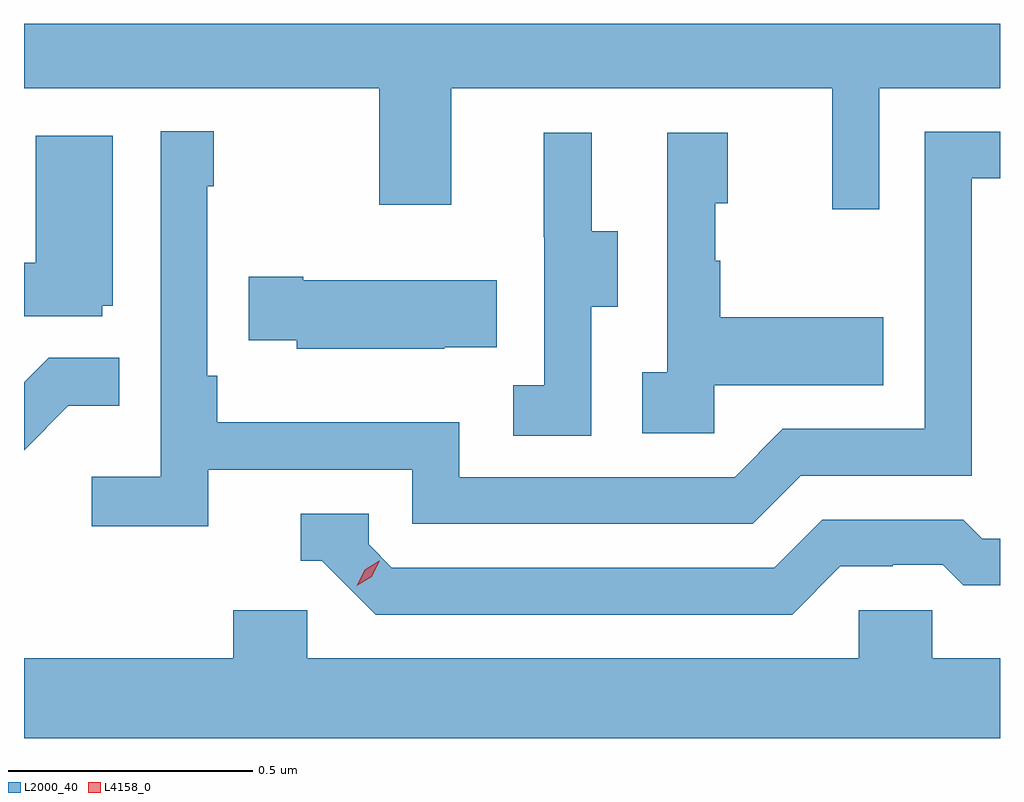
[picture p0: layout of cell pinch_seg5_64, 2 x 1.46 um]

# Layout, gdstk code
import gdstk
lib = gdstk.Library(unit=1e-6, precision=1e-09)
def P(c, l, *ps):  # polygons
    for p in ps: c.add(gdstk.Polygon(p, *l))
L2000_40 = (2000, 40)
L4158_0 = (4158, 0)

pinch_seg5_64 = lib.new_cell('pinch_seg5_64')
P(pinch_seg5_64, L2000_40, [(1061.733,915.368),(1061.98,915.368),(1061.98,915.5),(1059.98,915.5),(1059.98,915.368),(1060.708,915.368),(1060.708,915.129),(1060.855,915.129),(1060.855,915.368),(1061.636,915.368),(1061.636,915.12),(1061.733,915.12)],
  [(1060.358,914.586),(1060.776,914.586),(1060.776,914.475),(1061.473,914.475),(1061.572,914.574),(1061.922,914.574),(1061.922,915.183),(1061.98,915.183),(1061.98,915.279),(1061.826,915.279),(1061.826,914.67),(1061.535,914.67),(1061.436,914.571),(1060.872,914.571),(1060.872,914.683),(1060.376,914.683),(1060.376,914.779),(1060.356,914.779),(1060.356,915.167),(1060.369,915.167),(1060.369,915.28),(1060.26,915.28),(1060.26,914.572),(1060.119,914.572),(1060.119,914.47),(1060.358,914.47)],
  [(1061.142,914.92),(1061.197,914.92),(1061.197,915.075),(1061.143,915.075),(1061.143,915.277),(1061.045,915.277),(1061.045,915.063),(1061.046,915.063),(1061.046,914.759),(1060.983,914.759),(1060.983,914.656),(1061.142,914.656)],
  [(1061.394,914.759),(1061.741,914.759),(1061.741,914.899),(1061.407,914.899),(1061.407,915.014),(1061.397,915.014),(1061.397,915.132),(1061.422,915.132),(1061.422,915.277),(1061.298,915.277),(1061.298,914.786),(1061.247,914.786),(1061.247,914.661),(1061.394,914.661)],
  [(1060.14,914.922),(1060.162,914.922),(1060.162,915.271),(1060.004,915.271),(1060.004,915.01),(1059.98,915.01),(1059.98,914.901),(1060.14,914.901)],
  [(1060.841,914.837),(1060.949,914.837),(1060.949,914.974),(1060.552,914.974),(1060.552,914.982),(1060.441,914.982),(1060.441,914.852),(1060.539,914.852),(1060.539,914.834),(1060.841,914.834)],
  [(1060.071,914.717),(1060.175,914.717),(1060.175,914.816),(1060.031,914.816),(1059.98,914.765),(1059.98,914.626)],
  [(1061.653,914.388),(1061.76,914.388),(1061.76,914.391),(1061.863,914.391),(1061.905,914.349),(1061.98,914.349),(1061.98,914.445),(1061.944,914.445),(1061.905,914.484),(1061.616,914.484),(1061.517,914.385),(1060.734,914.385),(1060.686,914.433),(1060.686,914.496),(1060.547,914.496),(1060.547,914.4),(1060.59,914.4),(1060.701,914.289),(1061.554,914.289)],
  [(1061.98,914.2),(1061.841,914.2),(1061.841,914.298),(1061.691,914.298),(1061.691,914.2),(1060.56,914.2),(1060.56,914.298),(1060.409,914.298),(1060.409,914.2),(1059.98,914.2),(1059.98,914.036),(1061.98,914.036)])
P(pinch_seg5_64, L4158_0, [(1060.662,914.348),(1060.662,914.348),(1060.678,914.381),(1060.708,914.4),(1060.709,914.4),(1060.709,914.4),(1060.693,914.367),(1060.662,914.348)])

lib.write_gds('pinch_seg5_64.gds')
